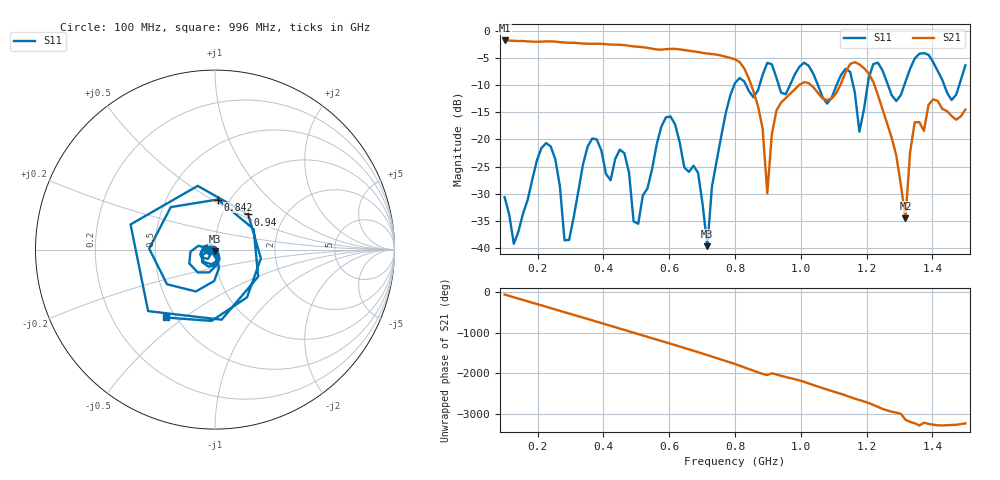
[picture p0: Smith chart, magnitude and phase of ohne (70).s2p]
! NanoVNA-App
! Date: 2025-09-26 09:55:56
! Start: 100MHz Stop: 1,5GHz Points: 101
! S-Parameter data: F S11 S21 S12 S22
# Hz S RI R 50
!  Frequency  S11_Real  S11_Imag  S21_Real  S21_Imag  S12_Real  S12_Imag  S22_Real  S22_Imag
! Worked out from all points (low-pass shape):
!   101 points, 100 MHz to 1.5 GHz, reference 50 ohm
!   highest |S21| = -1.79 dB at 100 MHz (marker M1); lowest = -34.5 dB at 1.318 GHz (marker M2)
!   |S21| within 3 dB of the highest: start of sweep to 771.9 MHz
!   lowest |S11| = -39.7 dB at 716 MHz (marker M3), VSWR 1.02, Z = 49.9 - j1.03 ohm
!   |S11| at or under -10 dB: start of sweep to 797.7 MHz; 833.4 MHz to 874.7 MHz (41.25 MHz wide, 4.83 % of centre); 1.052 GHz to 1.109 GHz (56.7 MHz wide, 5.25 % of centre) (the widest 3 of 7)
!   S12 and S22 are empty: the file has one direction only
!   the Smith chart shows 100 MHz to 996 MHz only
!   S11 on the Smith chart (normalised r, x): 100 MHz: 0.94, -0.01; 842 MHz: 0.88, +0.53; 940 MHz: 1.32, +0.56; 996 MHz: 0.44, -0.43
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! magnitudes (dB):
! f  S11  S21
! 100 MHz  -30.6  -1.8
! 128 MHz  -39.2  -1.9
! 226 MHz  -20.7  -2.0
! 296 MHz  -38.5  -2.2
! 338 MHz  -24.7  -2.4
! 464 MHz  -22.5  -2.6
! 506 MHz  -35.5  -3.0
! 576 MHz  -17.7  -3.5
! 688 MHz  -26.2  -3.9
! 716 MHz  -39.7  -4.2
! 800 MHz  -9.6  -5.3
! 842 MHz  -11.1  -8.8
! 898 MHz  -5.9  -29.9
! 940 MHz  -11.4  -13.2
! 996 MHz  -6.6  -9.9
! 1.038 GHz  -7.9  -10.4
! 1.178 GHz  -18.6  -6.2
! 1.22 GHz  -6.2  -9.4
! 1.276 GHz  -11.8  -19.7
! 1.318 GHz  -9.4  -34.5
! 1.346 GHz  -5.1  -16.8
! 1.5 GHz  -6.4  -14.5
